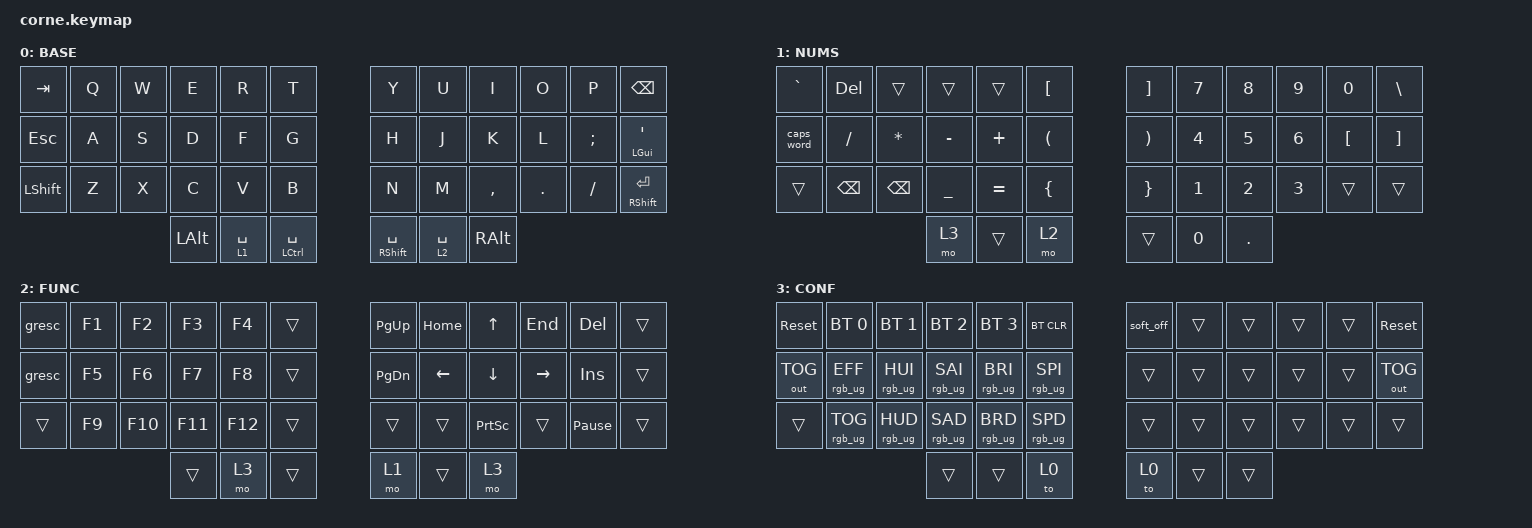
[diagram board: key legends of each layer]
/*
 * Copyright (c) 2020 The ZMK Contributors
 *
 * SPDX-License-Identifier: MIT
 */

#include <behaviors.dtsi>
#include <dt-bindings/zmk/bt.h>
#include <dt-bindings/zmk/keys.h>
#include <dt-bindings/zmk/outputs.h>
#include <dt-bindings/zmk/rgb.h>

&soft_off {
    hold-time-ms = <3000>; // Only turn off it the key is held for 5 seconds or longer.
};

/ {
    behaviors {
        hm: homerow_mods {
            compatible = "zmk,behavior-hold-tap";
            label = "HOMEROW_MODS";
            #binding-cells = <2>;
            tapping-term-ms = <200>;
            flavor = "tap-preferred";
            bindings = <&kp>, <&kp>;

            quick-tap-ms = <180>;
        };

        ltb: ltb {
            compatible = "zmk,behavior-hold-tap";
            label = "LTB";
            bindings = <&mo>, <&kp>;

            #binding-cells = <2>;
            tapping-term-ms = <300>;
            flavor = "balanced";
            quick-tap-ms = <200>;
        };

        mth: mth {
            compatible = "zmk,behavior-hold-tap";
            label = "MTH";
            bindings = <&kp>, <&kp>;

            #binding-cells = <2>;
            tapping-term-ms = <200>;
            flavor = "hold-preferred";
            require-prior-idle-ms = <150>;
        };

        lthl: lthl {
            compatible = "zmk,behavior-hold-tap";
            label = "LTHL";
            bindings = <&mo>, <&kp>;

            #binding-cells = <2>;
            tapping-term-ms = <1500>;
            flavor = "hold-preferred";
            quick-tap-ms = <200>;
        };

        lth: lth {
            compatible = "zmk,behavior-hold-tap";
            label = "LTH";
            bindings = <&mo>, <&kp>;

            #binding-cells = <2>;
            tapping-term-ms = <300>;
            flavor = "hold-preferred";
            quick-tap-ms = <200>;
        };
    };

    combos { compatible = "zmk,combos"; };

    keymap {
        compatible = "zmk,keymap";

        base {
            display-name = "BASE";
            bindings = <
&kp TAB    &kp Q  &kp W  &kp E     &kp R         &kp T             &kp Y             &kp U         &kp I      &kp O    &kp P          &kp BSPC
&kp ESC    &kp A  &kp S  &kp D     &kp F         &kp G             &kp H             &kp J         &kp K      &kp L    &kp SEMICOLON  &mt LEFT_GUI SQT
&kp LSHFT  &kp Z  &kp X  &kp C     &kp V         &kp B             &kp N             &kp M         &kp COMMA  &kp DOT  &kp FSLH       &mth RSHFT RETURN
                         &kp LALT  &lth 1 SPACE  &mth LCTRL SPACE  &mth RSHFT SPACE  &lth 2 SPACE  &kp RALT
            >;
        };

        nums {
            display-name = "NUMS";
            bindings = <
&kp GRAVE   &kp DEL        &trans         &trans     &trans     &kp LEFT_BRACKET      &kp RIGHT_BRACKET      &kp N7        &kp N8   &kp N9  &kp N0            &kp BACKSLASH
&caps_word  &kp SLASH      &kp ASTERISK   &kp MINUS  &kp PLUS   &kp LEFT_PARENTHESIS  &kp RIGHT_PARENTHESIS  &kp N4        &kp N5   &kp N6  &kp LEFT_BRACKET  &kp RIGHT_BRACKET
&trans      &kp BACKSPACE  &kp BACKSPACE  &kp UNDER  &kp EQUAL  &kp LEFT_BRACE        &kp RIGHT_BRACE        &kp N1        &kp N2   &kp N3  &trans            &trans
                                          &mo 3      &trans     &mo 2                 &trans                 &kp NUMBER_0  &kp DOT
            >;
        };

        func {
            display-name = "FUNC";
            bindings = <
&gresc  &kp F1  &kp F2   &kp F3   &kp F4   &trans  &kp PG_UP  &kp HOME  &kp UP           &kp END    &kp DEL          &trans
&gresc  &kp F5  &kp F6   &kp F7   &kp F8   &trans  &kp PG_DN  &kp LEFT  &kp DOWN         &kp RIGHT  &kp INS          &trans
&trans  &kp F9  &kp F10  &kp F11  &kp F12  &trans  &trans     &trans    &kp PRINTSCREEN  &trans     &kp PAUSE_BREAK  &trans
                         &trans   &mo 3    &trans  &mo 1      &trans    &mo 3
            >;
        };

        conf {
            display-name = "CONF";
            bindings = <
&sys_reset      &bt BT_SEL 0     &bt BT_SEL 1     &bt BT_SEL 2     &bt BT_SEL 3     &bt BT_CLR       &soft_off  &trans  &trans  &trans  &trans  &sys_reset
&out OUT_TOG    &rgb_ug RGB_EFF  &rgb_ug RGB_HUI  &rgb_ug RGB_SAI  &rgb_ug RGB_BRI  &rgb_ug RGB_SPI  &trans     &trans  &trans  &trans  &trans  &out OUT_TOG
&trans      &rgb_ug RGB_TOG  &rgb_ug RGB_HUD  &rgb_ug RGB_SAD  &rgb_ug RGB_BRD  &rgb_ug RGB_SPD  &trans     &trans  &trans  &trans  &trans  &trans
                                                  &trans           &trans           &to 0            &to 0      &trans  &trans
            >;
        };

        extra1 { status = "reserved"; };

        extra2 { status = "reserved"; };

        extra3 { status = "reserved"; };

        extra4 { status = "reserved"; };
    };
};
